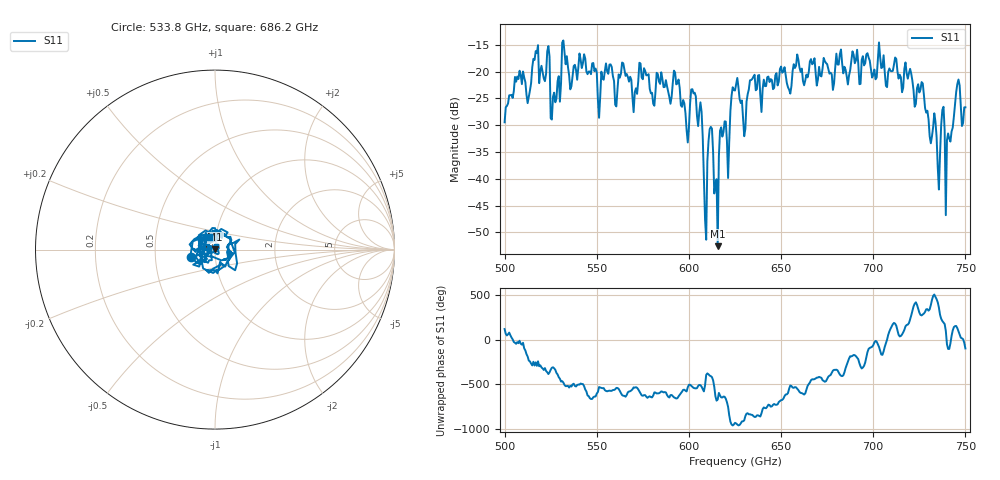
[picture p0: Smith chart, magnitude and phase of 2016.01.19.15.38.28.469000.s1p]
!Created with skrf (http://scikit-rf.org).
# GHz S RI R 50.0
!freq ReS11 ImS11
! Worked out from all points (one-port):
!   401 points, 500 GHz to 750 GHz, reference 50 ohm
!   lowest |S11| = -52.6 dB at 615.6 GHz (marker M1), VSWR 1.00, Z = 50.2 + j0.174 ohm
!   |S11| at or under -10 dB: start of sweep to end of sweep
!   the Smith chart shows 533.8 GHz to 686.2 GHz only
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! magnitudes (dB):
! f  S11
! 500 GHz  -29.5
! 506.9 GHz  -20.9
! 513.1 GHz  -24.7
! 516.9 GHz  -16.2
! 523.1 GHz  -16.2
! 526.2 GHz  -24.7
! 531.2 GHz  -14.6
! 562.5 GHz  -21.1
! 593.8 GHz  -22.2
! 598.8 GHz  -31.0
! 602.5 GHz  -24.1
! 606.2 GHz  -25.8
! 608.8 GHz  -47.6
! 611.9 GHz  -30.3
! 614.4 GHz  -41.0
! 615.6 GHz  -52.6
! 618.1 GHz  -32.1
! 625 GHz  -23.5
! 629.4 GHz  -28.6
! 634.4 GHz  -21.4
! 656.2 GHz  -19.9
! 687.5 GHz  -19.7
! 718.8 GHz  -21.3
! 735 GHz  -37.9
! 737.5 GHz  -27.2
! 740.6 GHz  -31.6
! 745.6 GHz  -22.3
! 750 GHz  -26.7
